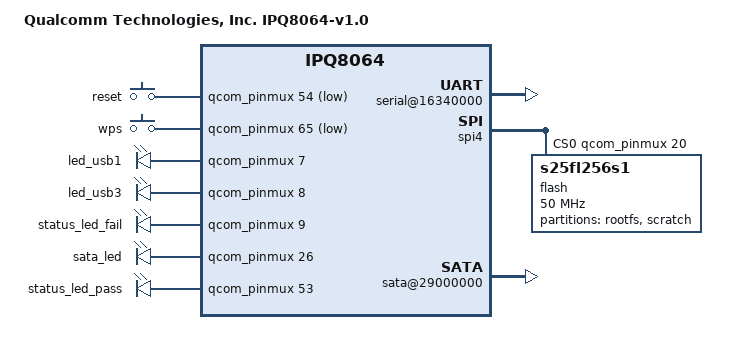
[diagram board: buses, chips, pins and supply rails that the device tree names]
// SPDX-License-Identifier: GPL-2.0
#include "qcom-ipq8064.dtsi"
#include <dt-bindings/input/input.h>

/ {
	model = "Qualcomm Technologies, Inc. IPQ8064-v1.0";

	aliases {
		serial0 = &gsbi4_serial;
	};

	chosen {
		stdout-path = "serial0:115200n8";
	};

	soc {
		gsbi@16300000 {
			qcom,mode = <GSBI_PROT_I2C_UART>;
			status = "ok";

			serial@16340000 {
				status = "ok";
			};
		};

		gsbi5: gsbi@1a200000 {
			qcom,mode = <GSBI_PROT_SPI>;
			status = "ok";

			spi4: spi@1a280000 {
				status = "ok";
				spi-max-frequency = <50000000>;

				pinctrl-0 = <&spi_pins>;
				pinctrl-names = "default";

				cs-gpios = <&qcom_pinmux 20 0>;

				flash: m25p80@0 {
					compatible = "s25fl256s1";
					#address-cells = <1>;
					#size-cells = <1>;
					spi-max-frequency = <50000000>;
					reg = <0>;

					partition@0 {
						label = "rootfs";
						reg = <0x0 0x1000000>;
					};

					partition@1 {
						label = "scratch";
						reg = <0x1000000 0x1000000>;
					};
				};
			};
		};

		sata-phy@1b400000 {
			status = "ok";
		};

		sata@29000000 {
			ports-implemented = <0x1>;
			status = "ok";
		};

		gpio_keys {
			compatible = "gpio-keys";
			pinctrl-0 = <&buttons_pins>;
			pinctrl-names = "default";

			button@1 {
				label = "reset";
				linux,code = <KEY_RESTART>;
				gpios = <&qcom_pinmux 54 GPIO_ACTIVE_LOW>;
				linux,input-type = <1>;
				debounce-interval = <60>;
			};
			button@2 {
				label = "wps";
				linux,code = <KEY_WPS_BUTTON>;
				gpios = <&qcom_pinmux 65 GPIO_ACTIVE_LOW>;
				linux,input-type = <1>;
				debounce-interval = <60>;
			};
		};

		leds {
			compatible = "gpio-leds";
			pinctrl-0 = <&leds_pins>;
			pinctrl-names = "default";

			led@7 {
				label = "led_usb1";
				gpios = <&qcom_pinmux 7 GPIO_ACTIVE_HIGH>;
				linux,default-trigger = "usbdev";
				default-state = "off";
			};

			led@8 {
				label = "led_usb3";
				gpios = <&qcom_pinmux 8 GPIO_ACTIVE_HIGH>;
				linux,default-trigger = "usbdev";
				default-state = "off";
			};

			led@9 {
				label = "status_led_fail";
				gpios = <&qcom_pinmux 9 GPIO_ACTIVE_HIGH>;
				default-state = "off";
			};

			led@26 {
				label = "sata_led";
				gpios = <&qcom_pinmux 26 GPIO_ACTIVE_HIGH>;
				default-state = "off";
			};

			led@53 {
				label = "status_led_pass";
				gpios = <&qcom_pinmux 53 GPIO_ACTIVE_HIGH>;
				default-state = "off";
			};
		};
	};
};
